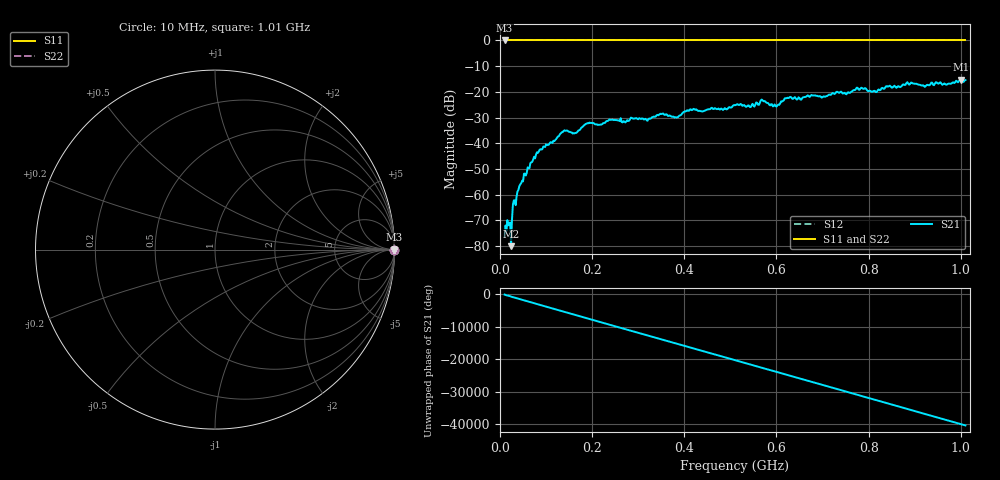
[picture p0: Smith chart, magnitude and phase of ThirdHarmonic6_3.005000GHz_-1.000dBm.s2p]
! 8/17/2025 8:36:19 AM
! C:\ANRITSUVNA\TEMP\TEMP.S2P
! CHANNEL.1
! TR.MEASUREMENT
! RAW.DATA
! RF.CORRECTION.OFF
! AVERAGING.OFF
! IF.BANDWIDTH: 5KHZ
! SWEEPTYPE:  FREQ.SWEEP(Linear)
! Reference Plane Port Info
! PORT:  PORT1  PORT2
! DISTANCE:  0  m  0  m
! TIME:  0  s  0  s
! PHASE.OFFSET:  0  deg.  0  deg.
! LOSS:  0  dB  0  dB
! REF.LOSS:  0  dB  0  dB
! REF.FREQ:  0  Hz  0  Hz
! Power Info
! POWER:  -20  dBm  -20  dBm
! EFF.POWER:  -20  dBm  -20  dBm
! SOURCE.ATTEN:  0  dB  0  dB
! TEST.ATTEN:  0  dB  0  dB
# GHZ S RI R 50.0
! FREQ.GHZ  S11RE  S11IM  S21RE  S21IM  S12RE  S12IM  S22RE  S22IM
!; PortSelection: Port_12
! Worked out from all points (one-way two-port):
!   501 points, 10 MHz to 1.01 GHz, reference 50 ohm
!   highest |S21| = -15.24 dB at 1 GHz (marker M1); lowest = -80.0 dB at 24 MHz (marker M2)
!   lowest |S11| = 0.0 dB at 10 MHz (marker M3)
!   |S11| at or under -10 dB: nowhere
!   |S22| runs from 0.0 to 0.0 dB; largest |S21 - S12| = 1.2
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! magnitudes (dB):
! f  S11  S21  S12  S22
! 10 MHz  0.0  -76.5  0.0  0.0
! 16 MHz  0.0  -69.9  0.0  0.0
! 22 MHz  0.0  -70.9  0.0  0.0
! 24 MHz  0.0  -80.0  0.0  0.0
! 32 MHz  0.0  -62.2  0.0  0.0
! 42 MHz  0.0  -56.6  0.0  0.0
! 82 MHz  0.0  -43.7  0.0  0.0
! 136 MHz  0.0  -35.7  0.0  0.0
! 162 MHz  0.0  -36.1  0.0  0.0
! 178 MHz  0.0  -33.7  0.0  0.0
! 344 MHz  0.0  -29.1  0.0  0.0
! 382 MHz  0.0  -29.9  0.0  0.0
! 416 MHz  0.0  -27.1  0.0  0.0
! 510 MHz  0.0  -25.2  0.0  0.0
! 548 MHz  0.0  -24.6  0.0  0.0
! 570 MHz  0.0  -23.3  0.0  0.0
! 596 MHz  0.0  -24.9  0.0  0.0
! 622 MHz  0.0  -22.5  0.0  0.0
! 678 MHz  0.0  -21.4  0.0  0.0
! 844 MHz  0.0  -17.8  0.0  0.0
! 1 GHz  0.0  -15.2  0.0  0.0
! 1.01 GHz  0.0  -15.4  0.0  0.0
